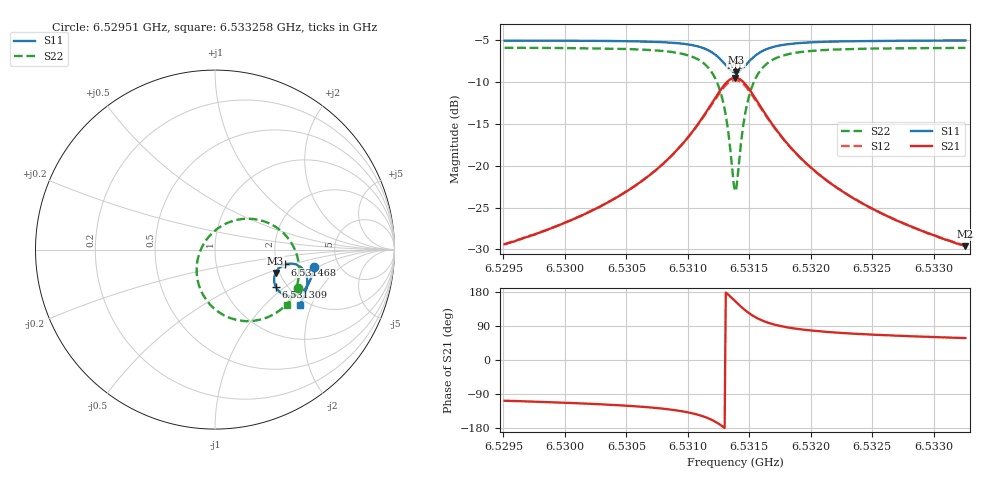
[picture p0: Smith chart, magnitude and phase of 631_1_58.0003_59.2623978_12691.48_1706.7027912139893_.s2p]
#  HZ  S  RI  R  50.00
! Rohde & Schwarz Vector Network Analyzer
! Rohde-Schwarz,ZNB20-2Port,1311601062101988,3.16
! Created: UTC 3/21/2024, 1:18:38 AM
! freq[Hz]  re:S11  im:S11  re:S21  im:S21  re:S12  im:S12  re:S22  im:S22
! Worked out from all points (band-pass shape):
!   401 points, 6.52951 GHz to 6.533258 GHz, reference 50 ohm
!   highest |S21| = -9.47 dB at 6.531384 GHz (marker M1); lowest = -29.6 dB at 6.533258 GHz (marker M2)
!   |S21| within 3 dB of the highest: 6.531198 GHz to 6.531572 GHz (374.4 kHz wide, 0.00573 % of centre)
!   lowest |S11| = -8.8 dB at 6.531393 GHz (marker M3), VSWR 2.13, Z = 95.4 - j28.6 ohm
!   |S11| at or under -10 dB: nowhere
!   |S22| runs from -23.0 to -5.9 dB; largest |S21 - S12| = 0.014
!   S11 on the Smith chart (normalised r, x): 6.52951 GHz: 3.28, -0.91; 6.531309 GHz: 1.75, -0.88; 6.531468 GHz: 2.22, -0.44; 6.533258 GHz: 1.83, -1.64
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6.5295099e9  0.5523 -0.0949  -0.0102 -0.0325  -0.0108 -0.0323  0.4614 -0.2128
6.5301377e9  0.5393 -0.1478  -0.0211 -0.046  -0.0222 -0.0454  0.4256 -0.2718
6.5304469e9  0.5279 -0.1772  -0.0328 -0.0577  -0.0344 -0.057  0.3946 -0.3086
6.5307655e9  0.5073 -0.2126  -0.0594 -0.0778  -0.0616 -0.0761  0.3344 -0.3561
6.530981e9  0.4775 -0.2414  -0.1036 -0.0971  -0.1064 -0.0931  0.2456 -0.3918
6.5311497e9  0.4254 -0.2586  -0.1846 -0.0996  -0.1863 -0.0915  0.0989 -0.3858
6.5312434e9  0.3757 -0.2466  -0.2611 -0.0619  -0.2583 -0.0509  -0.0259 -0.3076
6.5312809e9  0.3538 -0.2295  -0.2927 -0.0261  -0.2869 -0.0148  -0.072 -0.2415
6.531309e9  0.34 -0.2101  -0.3114 0.0112  -0.3025 0.0214  -0.0955 -0.1761
6.5313371e9  0.3312 -0.1856  -0.3209 0.0562  -0.3096 0.0645  -0.1022 -0.1
6.5313652e9  0.3301 -0.1579  -0.3172 0.1057  -0.3044 0.1108  -0.0869 -0.0199
6.5313839e9  0.334 -0.1391  -0.3066 0.1382  -0.2937 0.1409  -0.0636 0.0307
6.5313933e9  0.3376 -0.1301  -0.299 0.1536  -0.2861 0.1551  -0.0483 0.0542
6.5314683e9  0.3897 -0.0827  -0.2014 0.2327  -0.1933 0.2284  0.1253 0.1662
6.5314964e9  0.4124 -0.0779  -0.1616 0.2404  -0.1554 0.2358  0.1928 0.1718
6.5315338e9  0.4393 -0.0797  -0.115 0.2374  -0.1113 0.2332  0.2698 0.1587
6.5316275e9  0.4831 -0.1031  -0.0404 0.2018  -0.0388 0.1996  0.3902 0.0828
6.5317681e9  0.5082 -0.1423  0.00353 0.1477  0.00462 0.1468  0.4544 -0.0251
6.5320117e9  0.5142 -0.1894  0.0207 0.0939  0.0219 0.0936  0.4679 -0.1351
6.5323022e9  0.5076 -0.2264  0.0225 0.0631  0.0235 0.0629  0.4551 -0.2045
6.5326395e9  0.4959 -0.2585  0.0208 0.0449  0.0217 0.0445  0.4357 -0.2536
6.533258e9  0.4711 -0.3062  0.0176 0.028  0.0183 0.0278  0.4006 -0.3114
